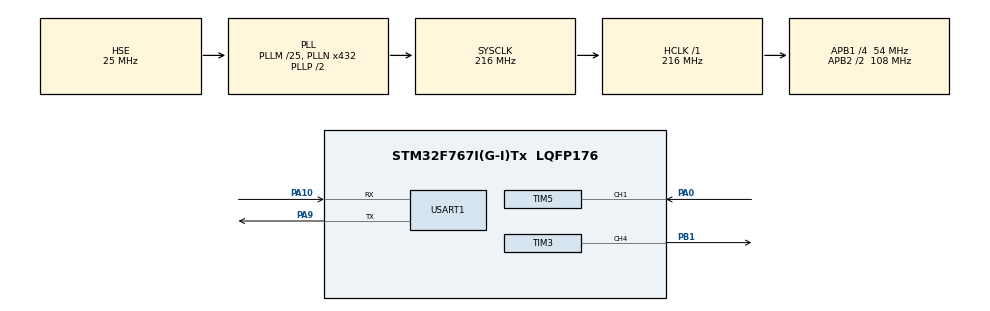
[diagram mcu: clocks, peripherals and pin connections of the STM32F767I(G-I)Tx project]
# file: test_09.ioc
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CORTEX_M7.default_mode_Activation=1
Mcu.Family=STM32F7
Mcu.Name=STM32F767I(G-I)Tx
Mcu.Package=LQFP176
NVIC.PriorityGroup=NVIC_PRIORITYGROUP_2
NVIC.TIM5_IRQn=true\:2\:0\:true\:false\:true\:true\:true\:true
NVIC.USART1_IRQn=true\:3\:3\:true\:false\:true\:true\:true\:true
PA0/WKUP.GPIO_ModeDefaultPP=GPIO_MODE_AF_PP
PA0/WKUP.GPIO_PuPd=GPIO_PULLDOWN
PA0/WKUP.GPIO_Speed=GPIO_SPEED_FREQ_HIGH
PA0/WKUP.Signal=S_TIM5_CH1
PA10.GPIO_PuPd=GPIO_PULLUP
PA10.GPIO_Speed=GPIO_SPEED_FREQ_VERY_HIGH
PA10.Mode=Asynchronous
PA10.Signal=USART1_RX
PA9.GPIO_ModeDefaultPP=GPIO_MODE_AF_PP
PA9.GPIO_PuPd=GPIO_PULLUP
PA9.GPIO_Speed=GPIO_SPEED_FREQ_VERY_HIGH
PA9.Mode=Asynchronous
PA9.Signal=USART1_TX
PB1.GPIO_ModeDefaultPP=GPIO_MODE_AF_PP
PB1.GPIO_PuPd=GPIO_PULLUP
PB1.GPIO_Speed=GPIO_SPEED_FREQ_HIGH
PB1.Signal=S_TIM3_CH4
PH0/OSC_IN.Mode=HSE-External-Oscillator
PH0/OSC_IN.Signal=RCC_OSC_IN
PH1/OSC_OUT.Mode=HSE-External-Oscillator
PH1/OSC_OUT.Signal=RCC_OSC_OUT
ProjectManager.HeapSize=0x200
ProjectManager.StackSize=0x400
ProjectManager.TargetToolchain=MDK-ARM V5.32
RCC.AHBFreq_Value=216000000
RCC.APB1CLKDivider=RCC_HCLK_DIV4
RCC.APB1Freq_Value=54000000
RCC.APB1TimFreq_Value=108000000
RCC.APB2CLKDivider=RCC_HCLK_DIV2
RCC.APB2Freq_Value=108000000
RCC.APB2TimFreq_Value=216000000
RCC.CortexFreq_Value=216000000
RCC.HCLKFreq_Value=216000000
RCC.HSE_VALUE=25000000
RCC.HSI_VALUE=16000000
RCC.LSE_VALUE=32768
RCC.PLLM=25
RCC.PLLN=432
RCC.PLLSourceVirtual=RCC_PLLSOURCE_HSE
RCC.SYSCLKFreq_VALUE=216000000
RCC.SYSCLKSource=RCC_SYSCLKSOURCE_PLLCLK
RCC.USBFreq_Value=216000000
RCC.VCOOutputFreq_Value=432000000
SH.S_TIM3_CH4.0=TIM3_CH4,PWM Generation4 CH4
SH.S_TIM5_CH1.0=TIM5_CH1,Input_Capture1_from_TI1
TIM3.Channel-PWM\ Generation4\ CH4=TIM_CHANNEL_4
TIM3.OCPolarity_4=TIM_OCPOLARITY_LOW
TIM3.Period=499
TIM3.Prescaler=107
TIM3.Pulse-PWM\ Generation4\ CH4=249
TIM5.Channel-Input_Capture1_from_TI1=TIM_CHANNEL_1
TIM5.Period=0xffffffff
TIM5.Prescaler=107
USART1.VirtualMode-Asynchronous=VM_ASYNC
VP_TIM3_VS_ClockSourceINT.Mode=Internal
VP_TIM5_VS_ClockSourceINT.Mode=Internal
board=custom

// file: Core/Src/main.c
/* USER CODE BEGIN Header */
/**
  ******************************************************************************
  * @file           : main.c
  * @brief          : Main program body
  ******************************************************************************
  * @attention
  *
  * Copyright (c) 2022 STMicroelectronics.
  * All rights reserved.
  *
  * This software is licensed under terms that can be found in the LICENSE file
  * in the root directory of this software component.
  * If no LICENSE file comes with this software, it is provided AS-IS.
  *
  ******************************************************************************
  */
/* USER CODE END Header */
#include "main.h"
#include "tim.h"
#include "usart.h"
#include "gpio.h"

/* USER CODE BEGIN Includes */
#include "stdio.h"
extern u8 TIM5CH1_CAPTURE_STA;		//输入捕获状态
extern u32 TIM5CH1_CAPTURE_VAL;		//输入捕获值
/* USER CODE END Includes */

void SystemClock_Config(void);
static void MPU_Config(void);

/* USER CODE BEGIN 0 */
//////////////////////////////////////////////////////////////////////////////////
//加入以下代码,支持printf函数,而不需要选择use MicroLIB
//#define PUTCHAR_PROTOTYPE int fputc(int ch, FILE *f)
#if 1
#pragma import(__use_no_semihosting)
//标准库需要的支持函数
struct __FILE
{
	int handle;
};

FILE __stdout;
//定义_sys_exit()以避免使用半主机模式
void _sys_exit(int x)
{
	x = x;
}
//重定义fputc函数
int fputc(int ch, FILE *f)
{
	while((USART1->ISR&0X40)==0);//循环发送,直到发送完毕
	USART1->TDR=(u8)ch;
	return ch;
}
#endif
/* USER CODE END 0 */

int main(void)
{
  /* USER CODE BEGIN 1 */
	long long temp=0;		//计算中间值
  /* USER CODE END 1 */

  /* MPU Configuration--------------------------------------------------------*/
  MPU_Config();

  /* MCU Configuration--------------------------------------------------------*/

  /* Reset of all peripherals, Initializes the Flash interface and the Systick. */
  HAL_Init();

  /* Configure the system clock */
  SystemClock_Config();

  /* Initialize all configured peripherals */
  MX_GPIO_Init();
  MX_TIM3_Init();
  MX_TIM5_Init();
  MX_USART1_UART_Init();

  /* Infinite loop */
  /* USER CODE BEGIN WHILE */
  while (1)
  {
	  HAL_Delay(10);
	  TIM_SetTIM3Compare4(TIM_GetTIM3Capture4()+1);
	  if(TIM_GetTIM3Capture4()==300)TIM_SetTIM3Compare4(0);
	  if(TIM5CH1_CAPTURE_STA&0x80)
	  {
		  temp=TIM5CH1_CAPTURE_STA&0x3f;
		  temp*=0xffffffff;
		  temp+=TIM5CH1_CAPTURE_VAL;
		  printf("HIGH: %lld us\r\n",temp);
		  TIM5CH1_CAPTURE_STA=0;
	  }
    /* USER CODE END WHILE */

  }
}

void SystemClock_Config(void)
{
  RCC_OscInitTypeDef RCC_OscInitStruct = {0};
  RCC_ClkInitTypeDef RCC_ClkInitStruct = {0};

  /** Configure the main internal regulator output voltage
  */
  __HAL_RCC_PWR_CLK_ENABLE();
  __HAL_PWR_VOLTAGESCALING_CONFIG(PWR_REGULATOR_VOLTAGE_SCALE1);

  /** Initializes the RCC Oscillators according to the specified parameters
  * in the RCC_OscInitTypeDef structure.
  */
  RCC_OscInitStruct.OscillatorType = RCC_OSCILLATORTYPE_HSE;
  RCC_OscInitStruct.HSEState = RCC_HSE_ON;
  RCC_OscInitStruct.PLL.PLLState = RCC_PLL_ON;
  RCC_OscInitStruct.PLL.PLLSource = RCC_PLLSOURCE_HSE;
  RCC_OscInitStruct.PLL.PLLM = 25;
  RCC_OscInitStruct.PLL.PLLN = 432;
  RCC_OscInitStruct.PLL.PLLP = RCC_PLLP_DIV2;
  RCC_OscInitStruct.PLL.PLLQ = 2;
  RCC_OscInitStruct.PLL.PLLR = 2;
  if (HAL_RCC_OscConfig(&RCC_OscInitStruct) != HAL_OK)
  {
    Error_Handler();
  }

  /** Activate the Over-Drive mode
  */
  if (HAL_PWREx_EnableOverDrive() != HAL_OK)
  {
    Error_Handler();
  }

  /** Initializes the CPU, AHB and APB buses clocks
  */
  RCC_ClkInitStruct.ClockType = RCC_CLOCKTYPE_HCLK|RCC_CLOCKTYPE_SYSCLK
                              |RCC_CLOCKTYPE_PCLK1|RCC_CLOCKTYPE_PCLK2;
  RCC_ClkInitStruct.SYSCLKSource = RCC_SYSCLKSOURCE_PLLCLK;
  RCC_ClkInitStruct.AHBCLKDivider = RCC_SYSCLK_DIV1;
  RCC_ClkInitStruct.APB1CLKDivider = RCC_HCLK_DIV4;
  RCC_ClkInitStruct.APB2CLKDivider = RCC_HCLK_DIV2;

  if (HAL_RCC_ClockConfig(&RCC_ClkInitStruct, FLASH_LATENCY_7) != HAL_OK)
  {
    Error_Handler();
  }
}

/* MPU Configuration */

void MPU_Config(void)
{
  MPU_Region_InitTypeDef MPU_InitStruct = {0};

  /* Disables the MPU */
  HAL_MPU_Disable();

  /** Initializes and configures the Region and the memory to be protected
  */
  MPU_InitStruct.Enable = MPU_REGION_ENABLE;
  MPU_InitStruct.Number = MPU_REGION_NUMBER0;
  MPU_InitStruct.BaseAddress = 0x0;
  MPU_InitStruct.Size = MPU_REGION_SIZE_4GB;
  MPU_InitStruct.SubRegionDisable = 0x87;
  MPU_InitStruct.TypeExtField = MPU_TEX_LEVEL0;
  MPU_InitStruct.AccessPermission = MPU_REGION_NO_ACCESS;
  MPU_InitStruct.DisableExec = MPU_INSTRUCTION_ACCESS_DISABLE;
  MPU_InitStruct.IsShareable = MPU_ACCESS_SHAREABLE;
  MPU_InitStruct.IsCacheable = MPU_ACCESS_NOT_CACHEABLE;
  MPU_InitStruct.IsBufferable = MPU_ACCESS_NOT_BUFFERABLE;

  HAL_MPU_ConfigRegion(&MPU_InitStruct);
  /* Enables the MPU */
  HAL_MPU_Enable(MPU_PRIVILEGED_DEFAULT);

}

void Error_Handler(void)
{
  __disable_irq();
  while (1)
  {
  }
}
